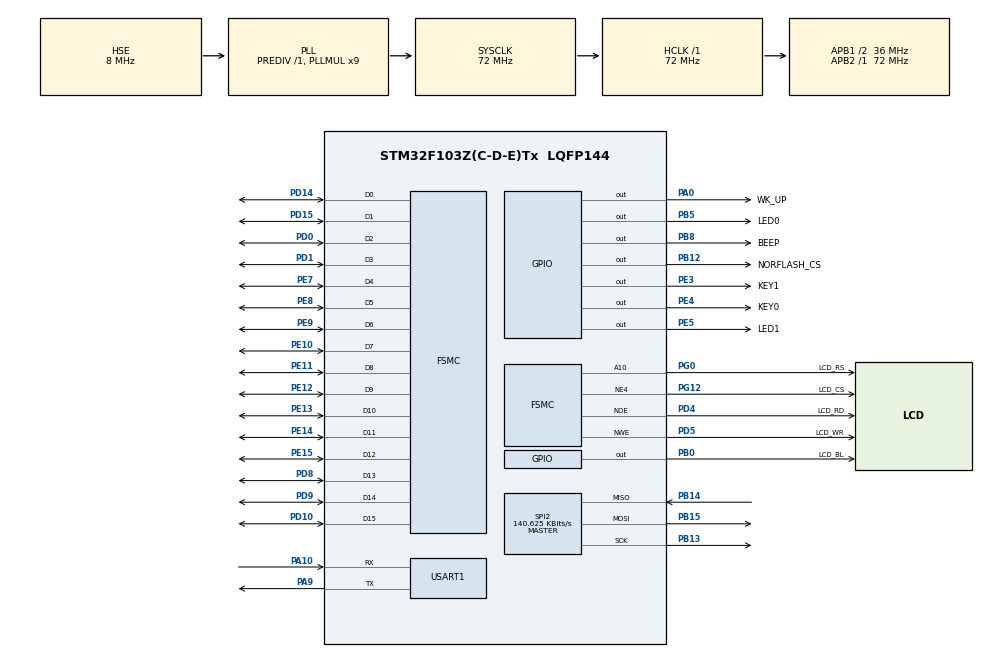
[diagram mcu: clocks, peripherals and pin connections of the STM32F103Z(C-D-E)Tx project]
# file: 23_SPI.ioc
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FSMC.AddressSetupTime1=0
FSMC.BusTurnAroundDuration1=15
FSMC.DataSetupTime1=15
FSMC.ExtendedAddressSetupTime1=0
FSMC.ExtendedDataSetupTime1=1
FSMC.ExtendedMode1=FSMC_EXTENDED_MODE_ENABLE
Mcu.Family=STM32F1
Mcu.Name=STM32F103Z(C-D-E)Tx
Mcu.Package=LQFP144
NVIC.PriorityGroup=NVIC_PRIORITYGROUP_2
NVIC.USART1_IRQn=true\:2\:2\:true\:false\:true\:true\:true\:true
OSC_IN.Mode=HSE-External-Oscillator
OSC_IN.Signal=RCC_OSC_IN
OSC_OUT.Mode=HSE-External-Oscillator
OSC_OUT.Signal=RCC_OSC_OUT
PA0-WKUP.GPIO_Label=WK_UP
PA0-WKUP.GPIO_PuPd=GPIO_PULLDOWN
PA0-WKUP.GPIO_Speed=GPIO_SPEED_FREQ_HIGH
PA0-WKUP.PinState=GPIO_PIN_RESET
PA0-WKUP.Signal=GPIO_Output
PA10.Mode=Asynchronous
PA10.Signal=USART1_RX
PA13.Mode=Serial_Wire
PA13.Signal=SYS_JTMS-SWDIO
PA14.Mode=Serial_Wire
PA14.Signal=SYS_JTCK-SWCLK
PA9.Mode=Asynchronous
PA9.Signal=USART1_TX
PB0.GPIO_Label=LCD_BL
PB0.GPIO_PuPd=GPIO_PULLUP
PB0.GPIO_Speed=GPIO_SPEED_FREQ_HIGH
PB0.PinState=GPIO_PIN_SET
PB0.Signal=GPIO_Output
PB12.GPIO_Label=NORFLASH_CS
PB12.GPIO_PuPd=GPIO_PULLUP
PB12.GPIO_Speed=GPIO_SPEED_FREQ_HIGH
PB12.PinState=GPIO_PIN_SET
PB12.Signal=GPIO_Output
PB13.Mode=Full_Duplex_Master
PB13.Signal=SPI2_SCK
PB14.Mode=Full_Duplex_Master
PB14.Signal=SPI2_MISO
PB15.Mode=Full_Duplex_Master
PB15.Signal=SPI2_MOSI
PB5.GPIO_Label=LED0
PB5.GPIO_PuPd=GPIO_PULLUP
PB5.GPIO_Speed=GPIO_SPEED_FREQ_HIGH
PB5.PinState=GPIO_PIN_SET
PB5.Signal=GPIO_Output
PB8.GPIO_Label=BEEP
PB8.GPIO_ModeDefaultOutputPP=GPIO_MODE_OUTPUT_PP
PB8.GPIO_PuPd=GPIO_PULLDOWN
PB8.GPIO_Speed=GPIO_SPEED_FREQ_HIGH
PB8.PinState=GPIO_PIN_RESET
PB8.Signal=GPIO_Output
PC14-OSC32_IN.Mode=LSE-External-Oscillator
PC14-OSC32_IN.Signal=RCC_OSC32_IN
PC15-OSC32_OUT.Mode=LSE-External-Oscillator
PC15-OSC32_OUT.Signal=RCC_OSC32_OUT
PD0.Signal=FSMC_D2_DA2
PD1.Signal=FSMC_D3_DA3
PD10.Signal=FSMC_D15_DA15
PD14.Signal=FSMC_D0_DA0
PD15.Signal=FSMC_D1_DA1
PD4.GPIO_Label=LCD_RD
PD4.Signal=FSMC_NOE
PD5.GPIO_Label=LCD_WR
PD5.Signal=FSMC_NWE
PD8.Signal=FSMC_D13_DA13
PD9.Signal=FSMC_D14_DA14
PE10.Signal=FSMC_D7_DA7
PE11.Signal=FSMC_D8_DA8
PE12.Signal=FSMC_D9_DA9
PE13.Signal=FSMC_D10_DA10
PE14.Signal=FSMC_D11_DA11
PE15.Signal=FSMC_D12_DA12
PE3.GPIO_Label=KEY1
PE3.GPIO_PuPd=GPIO_PULLUP
PE3.GPIO_Speed=GPIO_SPEED_FREQ_HIGH
PE3.PinState=GPIO_PIN_SET
PE3.Signal=GPIO_Output
PE4.GPIO_Label=KEY0
PE4.GPIO_PuPd=GPIO_PULLUP
PE4.GPIO_Speed=GPIO_SPEED_FREQ_HIGH
PE4.PinState=GPIO_PIN_SET
PE4.Signal=GPIO_Output
PE5.GPIO_Label=LED1
PE5.GPIO_PuPd=GPIO_PULLUP
PE5.GPIO_Speed=GPIO_SPEED_FREQ_HIGH
PE5.PinState=GPIO_PIN_SET
PE5.Signal=GPIO_Output
PE7.Signal=FSMC_D4_DA4
PE8.Signal=FSMC_D5_DA5
PE9.Signal=FSMC_D6_DA6
PG0.GPIO_Label=LCD_RS
PG0.Signal=FSMC_A10
PG12.GPIO_Label=LCD_CS
PG12.Mode=NorPsramChipSelect4_1
PG12.Signal=FSMC_NE4
ProjectManager.HeapSize=0x200
ProjectManager.StackSize=0x400
ProjectManager.TargetToolchain=STM32CubeIDE
RCC.AHBFreq_Value=72000000
RCC.APB1CLKDivider=RCC_HCLK_DIV2
RCC.APB1Freq_Value=36000000
RCC.APB1TimFreq_Value=72000000
RCC.APB2Freq_Value=72000000
RCC.APB2TimFreq_Value=72000000
RCC.HCLKFreq_Value=72000000
RCC.PLLMUL=RCC_PLL_MUL9
RCC.PLLSourceVirtual=RCC_PLLSOURCE_HSE
RCC.SYSCLKFreq_VALUE=72000000
RCC.SYSCLKSource=RCC_SYSCLKSOURCE_PLLCLK
RCC.USBFreq_Value=72000000
SH.FSMC_A10.0=FSMC_A10,A10_1
SH.FSMC_D0_DA0.0=FSMC_D0,16b-d1
SH.FSMC_D10_DA10.0=FSMC_D10,16b-d1
SH.FSMC_D11_DA11.0=FSMC_D11,16b-d1
SH.FSMC_D12_DA12.0=FSMC_D12,16b-d1
SH.FSMC_D13_DA13.0=FSMC_D13,16b-d1
SH.FSMC_D14_DA14.0=FSMC_D14,16b-d1
SH.FSMC_D15_DA15.0=FSMC_D15,16b-d1
SH.FSMC_D1_DA1.0=FSMC_D1,16b-d1
SH.FSMC_D2_DA2.0=FSMC_D2,16b-d1
SH.FSMC_D3_DA3.0=FSMC_D3,16b-d1
SH.FSMC_D4_DA4.0=FSMC_D4,16b-d1
SH.FSMC_D5_DA5.0=FSMC_D5,16b-d1
SH.FSMC_D6_DA6.0=FSMC_D6,16b-d1
SH.FSMC_D7_DA7.0=FSMC_D7,16b-d1
SH.FSMC_D8_DA8.0=FSMC_D8,16b-d1
SH.FSMC_D9_DA9.0=FSMC_D9,16b-d1
SH.FSMC_NOE.0=FSMC_NOE,Lcd1
SH.FSMC_NWE.0=FSMC_NWE,Lcd1
SPI2.BaudRatePrescaler=SPI_BAUDRATEPRESCALER_256
SPI2.CLKPhase=SPI_PHASE_2EDGE
SPI2.CLKPolarity=SPI_POLARITY_HIGH
SPI2.CalculateBaudRate=140.625 KBits/s
SPI2.Direction=SPI_DIRECTION_2LINES
SPI2.Mode=SPI_MODE_MASTER
SPI2.VirtualType=VM_MASTER
USART1.VirtualMode=VM_ASYNC
board=custom

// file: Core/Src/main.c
/* USER CODE BEGIN Header */

/* USER CODE END Header */
#include "main.h"
#include "spi.h"
#include "usart.h"
#include "gpio.h"
#include "fsmc.h"

/* USER CODE BEGIN Includes */
#include "../../BSP/LED/led.h"
#include "../../BSP/KEY/key.h"
#include "../../BSP/LCD/lcd.h"
#include "../../BSP/NORFLASH/norflash.h"
#include "../../SYSTEM/delay/delay.h"
/* USER CODE END Includes */

/* USER CODE BEGIN PTD */

/* 要写入到FLASH的字符串数组 */
const uint8_t g_text_buf[] = {"STM32 SPI TEST"};

#define TEXT_SIZE sizeof(g_text_buf) /* TEXT字符串长度 */

/* USER CODE END PTD */

void SystemClock_Config(void);

int main(void)
{
  /* USER CODE BEGIN 1 */
    uint8_t key;
    uint16_t i = 0;
    uint8_t datatemp[TEXT_SIZE+2];
    uint32_t flashsize;
    uint16_t id = 0;
  /* USER CODE END 1 */

  /* MCU Configuration--------------------------------------------------------*/

  /* Reset of all peripherals, Initializes the Flash interface and the Systick. */
  HAL_Init();

  /* Configure the system clock */
  SystemClock_Config();

  /* USER CODE BEGIN SysInit */
  delay_init(72);						   /* 初始化延时函数 */
  /* USER CODE END SysInit */

  /* Initialize all configured peripherals */
  MX_GPIO_Init();
  MX_FSMC_Init();
  MX_USART1_UART_Init();
  MX_SPI2_Init();
  /* USER CODE BEGIN 2 */
  lcd_init();                                   	/* 初始化LCD */
  norflash_init();                    				/* 初始化NORFLASH */

  lcd_show_string(30,  50, 200, 16, 16, "STM32", RED);
  lcd_show_string(30,  70, 200, 16, 16, "SPI TEST", RED);
  lcd_show_string(30,  90, 200, 16, 16, "ATOM@ALIENTEK", RED);
  lcd_show_string(30, 110, 200, 16, 16, "KEY1:Write  KEY0:Read", RED); /* 显示提示信息 */

  id = norflash_read_id(); /* 读取FLASH ID */

  while ((id == 0) || (id == 0XFFFF)) /* 检测不到FLASH芯片 */
  {
	  lcd_show_string(30, 130, 200, 16, 16, "FLASH Check Failed!", RED);
	  delay_ms(500);
	  lcd_show_string(30, 130, 200, 16, 16, "Please Check!      ", RED);
	  delay_ms(500);
	  LED0_TOGGLE(); /* LED0闪烁 */
  }

  lcd_show_string(30, 130, 200, 16, 16, "SPI FLASH Ready!", BLUE);
  flashsize = 16 * 1024 * 1024; /* FLASH 大小为16M字节 */
  /* USER CODE END 2 */

  /* Infinite loop */
  /* USER CODE BEGIN WHILE */
  while (1)
  {
	  key = key_scan(0);

	  if (key == KEY1_PRES) /* KEY1按下,写入 */
	  {
		  lcd_fill(0, 150, 239, 319, WHITE); /* 清除半屏 */
		  lcd_show_string(30, 150, 200, 16, 16, "Start Write FLASH....", BLUE);
		  printf("111:%d\r\n",i);
		  sprintf((char *)datatemp, "%s%d", (char *)g_text_buf, i);
		  norflash_write((uint8_t *)datatemp, flashsize - 100, TEXT_SIZE);      /* 从倒数第100个地址处开始,写入SIZE长度的数据 */
		  lcd_show_string(30, 150, 200, 16, 16, "FLASH Write Finished!", BLUE); /* 提示传送完成 */
	  }

	  if (key == KEY0_PRES) /* KEY0按下,读取字符串并显示 */
	  {
		  lcd_show_string(30, 150, 200, 16, 16, "Start Read FLASH... . ", BLUE);
		  norflash_read(datatemp, flashsize - 100, TEXT_SIZE);                   /* 从倒数第100个地址处开始,读出SIZE个字节 */
		  lcd_show_string(30, 150, 200, 16, 16, "The Data Readed Is:   ", BLUE); /* 提示传送完成 */
		  lcd_show_string(30, 170, 200, 16, 16, (char *)datatemp, BLUE);         /* 显示读到的字符串 */
	  }

	  i++;

	  if (i == 20)
	  {
		  LED0_TOGGLE(); /* LED0闪烁 */
		  i = 0;
	  }

	  delay_ms(10);

    /* USER CODE END WHILE */

  }
}

void SystemClock_Config(void)
{
  RCC_OscInitTypeDef RCC_OscInitStruct = {0};
  RCC_ClkInitTypeDef RCC_ClkInitStruct = {0};

  /** Initializes the RCC Oscillators according to the specified parameters
  * in the RCC_OscInitTypeDef structure.
  */
  RCC_OscInitStruct.OscillatorType = RCC_OSCILLATORTYPE_HSE;
  RCC_OscInitStruct.HSEState = RCC_HSE_ON;
  RCC_OscInitStruct.HSEPredivValue = RCC_HSE_PREDIV_DIV1;
  RCC_OscInitStruct.HSIState = RCC_HSI_ON;
  RCC_OscInitStruct.PLL.PLLState = RCC_PLL_ON;
  RCC_OscInitStruct.PLL.PLLSource = RCC_PLLSOURCE_HSE;
  RCC_OscInitStruct.PLL.PLLMUL = RCC_PLL_MUL9;
  if (HAL_RCC_OscConfig(&RCC_OscInitStruct) != HAL_OK)
  {
    Error_Handler();
  }

  /** Initializes the CPU, AHB and APB buses clocks
  */
  RCC_ClkInitStruct.ClockType = RCC_CLOCKTYPE_HCLK|RCC_CLOCKTYPE_SYSCLK
                              |RCC_CLOCKTYPE_PCLK1|RCC_CLOCKTYPE_PCLK2;
  RCC_ClkInitStruct.SYSCLKSource = RCC_SYSCLKSOURCE_PLLCLK;
  RCC_ClkInitStruct.AHBCLKDivider = RCC_SYSCLK_DIV1;
  RCC_ClkInitStruct.APB1CLKDivider = RCC_HCLK_DIV2;
  RCC_ClkInitStruct.APB2CLKDivider = RCC_HCLK_DIV1;

  if (HAL_RCC_ClockConfig(&RCC_ClkInitStruct, FLASH_LATENCY_2) != HAL_OK)
  {
    Error_Handler();
  }
}

void Error_Handler(void)
{
  __disable_irq();
  while (1)
  {
  }
}
